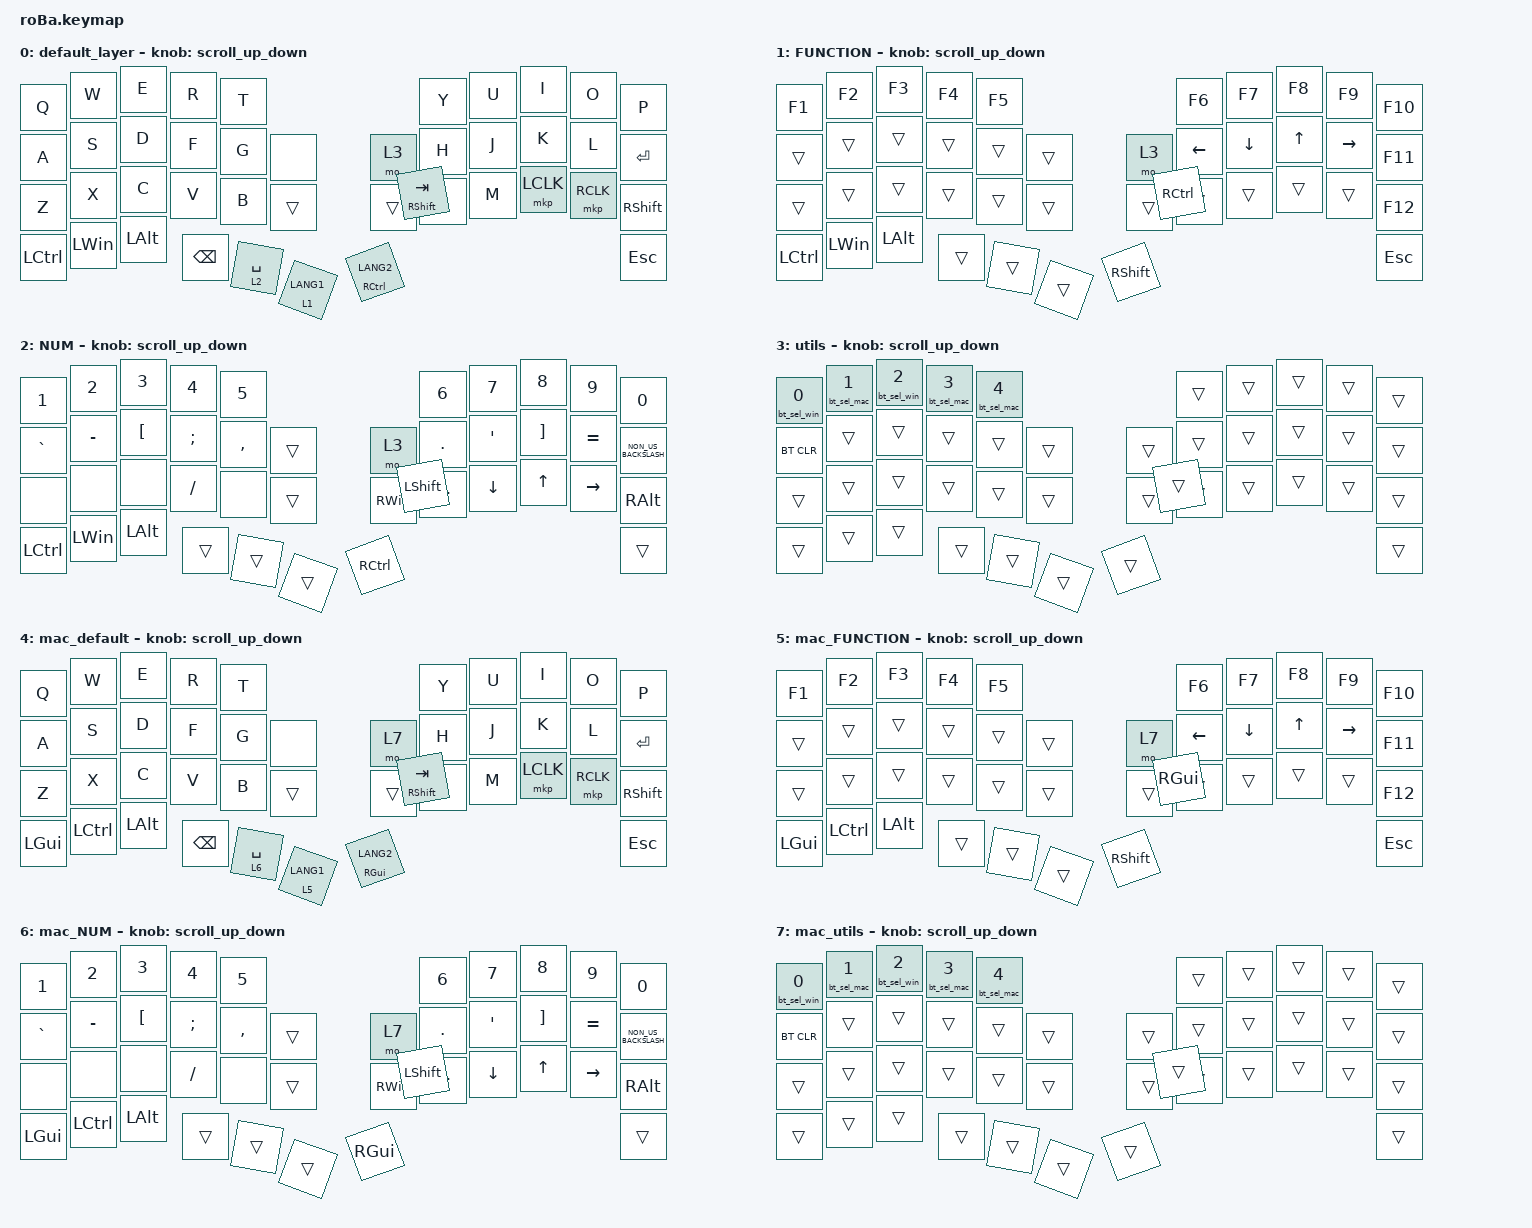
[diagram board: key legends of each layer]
#include <behaviors.dtsi>
#include <dt-bindings/zmk/bt.h>
#include <dt-bindings/zmk/keys.h>
#include <dt-bindings/zmk/pointing.h>

#define ZMK_MOUSE_DEFAULT_SRCL_VAL 100

&mt {
    flavor = "balanced";
    quick-tap-ms = <0>;
};

&trackball {
    // automouse-layer = <4>;
    // scroll-layers = <5>;
};

/ {
    combos {
        compatible = "zmk,combos";

        tab {
            bindings = <&kp TAB>;
            key-positions = <11 12>;
        };

        shift_tab {
            bindings = <&kp LS(TAB)>;
            key-positions = <12 13>;
        };

        muhennkann {
            bindings = <&to_layer_0 INT_MUHENKAN>;
            key-positions = <11 10>;
        };

        double_quotation {
            bindings = <&kp DOUBLE_QUOTES>;
            key-positions = <20 21>;
        };

        eq {
            bindings = <&kp EQUAL>;
            key-positions = <24 25>;
        };
    };

    macros {
        to_layer_0: to_layer_0 {
            compatible = "zmk,behavior-macro-one-param";
            #binding-cells = <1>;
            bindings = <&to 0 &macro_param_1to1 &kp MACRO_PLACEHOLDER>;
            label = "TO_LAYER_0";
        };

        bt_sel_win: bt_sel_win {
            compatible = "zmk,behavior-macro-one-param";
            #binding-cells = <1>;
            bindings = <&macro_param_1to2 &bt BT_SEL MACRO_PLACEHOLDER &to 0>;
            label = "BT_SEL_WIN";
        };

        bt_sel_mac: bt_sel_mac {
            compatible = "zmk,behavior-macro-one-param";
            #binding-cells = <1>;
            bindings = <&macro_param_1to2 &bt BT_SEL MACRO_PLACEHOLDER &to 4>;
            label = "BT_SEL_MAC";
        };
    };

    behaviors {
        lt_to_layer_0: lt_to_layer_0 {
            compatible = "zmk,behavior-hold-tap";
            label = "LAYER_TAP_TO_0";
            bindings = <&mo>, <&to_layer_0>;

            #binding-cells = <2>;
            tapping-term-ms = <200>;
        };

        scroll_up_down: behavior_sensor_rotate_mouse_wheel_up_down {
            compatible = "zmk,behavior-sensor-rotate";
            #sensor-binding-cells = <0>;
            bindings = <&msc SCRL_UP>, <&msc SCRL_DOWN>;

            // 追加: スクロールのタップ時間を設定 (20ms)

            tap-ms = <20>;
        };
    };

    keymap {
        compatible = "zmk,keymap";

        default_layer {
            bindings = <
&kp Q      &kp W         &kp E         &kp R          &kp T                                          &kp Y                &kp U  &kp I      &kp O      &kp P
&kp A      &kp S         &kp D         &kp F          &kp G        &none            &mo 3            &kp H                &kp J  &kp K      &kp L      &kp ENTER
&kp Z      &kp X         &kp C         &kp V          &kp B        &trans           &trans           &kp N                &kp M  &mkp LCLK  &mkp RCLK  &kp RIGHT_SHIFT
&kp LCTRL  &kp LEFT_WIN  &kp LEFT_ALT  &kp BACKSPACE  &lt 2 SPACE  &lt 1 LANG1      &mt RCTRL LANG2  &mt RIGHT_SHIFT TAB                               &kp ESCAPE
            >;

            sensor-bindings = <&scroll_up_down>;
        };

        FUNCTION {
            bindings = <
&kp F1     &kp F2    &kp F3        &kp F4  &kp F5                               &kp F6          &kp F7          &kp F8        &kp F9           &kp F10
&trans     &trans    &trans        &trans  &trans  &trans      &mo 3            &kp LEFT_ARROW  &kp DOWN_ARROW  &kp UP_ARROW  &kp RIGHT_ARROW  &kp F11
&trans     &trans    &trans        &trans  &trans  &trans      &trans           &trans          &trans          &trans        &trans           &kp F12
&kp LCTRL  &kp LWIN  &kp LEFT_ALT  &trans  &trans  &trans      &kp RIGHT_SHIFT  &kp RCTRL                                                      &kp ESC
            >;

            sensor-bindings = <&scroll_up_down>;
        };

        NUM {
            bindings = <
&kp NUMBER_1  &kp N2     &kp N3            &kp N4         &kp N5                            &kp N6          &kp N7          &kp N8             &kp N9           &kp N0
&kp GRAVE     &kp MINUS  &kp LEFT_BRACKET  &kp SEMICOLON  &kp COMMA  &trans      &mo 3      &kp PERIOD      &kp SQT         &kp RIGHT_BRACKET  &kp EQUAL        &kp NON_US_BACKSLASH
&none         &none      &none             &kp SLASH      &none      &trans      &kp RWIN   &kp LEFT_ARROW  &kp DOWN_ARROW  &kp UP_ARROW       &kp RIGHT_ARROW  &kp RIGHT_ALT
&kp LCTRL     &kp LWIN   &kp LEFT_ALT      &trans         &trans     &trans      &kp RCTRL  &kp LEFT_SHIFT                                                      &trans
            >;

            sensor-bindings = <&scroll_up_down>;
        };

        utils {
            bindings = <
&bt_sel_win 0  &bt_sel_mac 1  &bt_sel_win 2  &bt_sel_mac 3  &bt_sel_mac 4                      &trans  &trans  &trans  &trans  &trans
&bt BT_CLR     &trans         &trans         &trans         &trans         &trans      &trans  &trans  &trans  &trans  &trans  &trans
&trans         &trans         &trans         &trans         &trans         &trans      &trans  &trans  &trans  &trans  &trans  &trans
&trans         &trans         &trans         &trans         &trans         &trans      &trans  &trans                          &trans
            >;

            sensor-bindings = <&scroll_up_down>;
        };

        mac_default {
            bindings = <
&kp Q     &kp W      &kp E         &kp R          &kp T                                         &kp Y                &kp U  &kp I      &kp O      &kp P
&kp A     &kp S      &kp D         &kp F          &kp G        &none            &mo 7           &kp H                &kp J  &kp K      &kp L      &kp ENTER
&kp Z     &kp X      &kp C         &kp V          &kp B        &trans           &trans          &kp N                &kp M  &mkp LCLK  &mkp RCLK  &kp RIGHT_SHIFT
&kp LGUI  &kp LCTRL  &kp LEFT_ALT  &kp BACKSPACE  &lt 6 SPACE  &lt 5 LANG1      &mt RGUI LANG2  &mt RIGHT_SHIFT TAB                               &kp ESCAPE
            >;

            sensor-bindings = <&scroll_up_down>;
        };

        mac_FUNCTION {
            bindings = <
&kp F1    &kp F2     &kp F3        &kp F4  &kp F5                               &kp F6          &kp F7          &kp F8        &kp F9           &kp F10
&trans    &trans     &trans        &trans  &trans  &trans      &mo 7            &kp LEFT_ARROW  &kp DOWN_ARROW  &kp UP_ARROW  &kp RIGHT_ARROW  &kp F11
&trans    &trans     &trans        &trans  &trans  &trans      &trans           &trans          &trans          &trans        &trans           &kp F12
&kp LGUI  &kp LCTRL  &kp LEFT_ALT  &trans  &trans  &trans      &kp RIGHT_SHIFT  &kp RGUI                                                       &kp ESC
            >;

            sensor-bindings = <&scroll_up_down>;
        };

        mac_NUM {
            bindings = <
&kp NUMBER_1  &kp N2     &kp N3            &kp N4         &kp N5                           &kp N6          &kp N7          &kp N8             &kp N9           &kp N0
&kp GRAVE     &kp MINUS  &kp LEFT_BRACKET  &kp SEMICOLON  &kp COMMA  &trans      &mo 7     &kp PERIOD      &kp SQT         &kp RIGHT_BRACKET  &kp EQUAL        &kp NON_US_BACKSLASH
&none         &none      &none             &kp SLASH      &none      &trans      &kp RWIN  &kp LEFT_ARROW  &kp DOWN_ARROW  &kp UP_ARROW       &kp RIGHT_ARROW  &kp RIGHT_ALT
&kp LGUI      &kp LCTRL  &kp LEFT_ALT      &trans         &trans     &trans      &kp RGUI  &kp LEFT_SHIFT                                                      &trans
            >;

            sensor-bindings = <&scroll_up_down>;
        };

        mac_utils {
            bindings = <
&bt_sel_win 0  &bt_sel_mac 1  &bt_sel_win 2  &bt_sel_mac 3  &bt_sel_mac 4                      &trans  &trans  &trans  &trans  &trans
&bt BT_CLR     &trans         &trans         &trans         &trans         &trans      &trans  &trans  &trans  &trans  &trans  &trans
&trans         &trans         &trans         &trans         &trans         &trans      &trans  &trans  &trans  &trans  &trans  &trans
&trans         &trans         &trans         &trans         &trans         &trans      &trans  &trans                          &trans
            >;

            sensor-bindings = <&scroll_up_down>;
        };
    };
};
